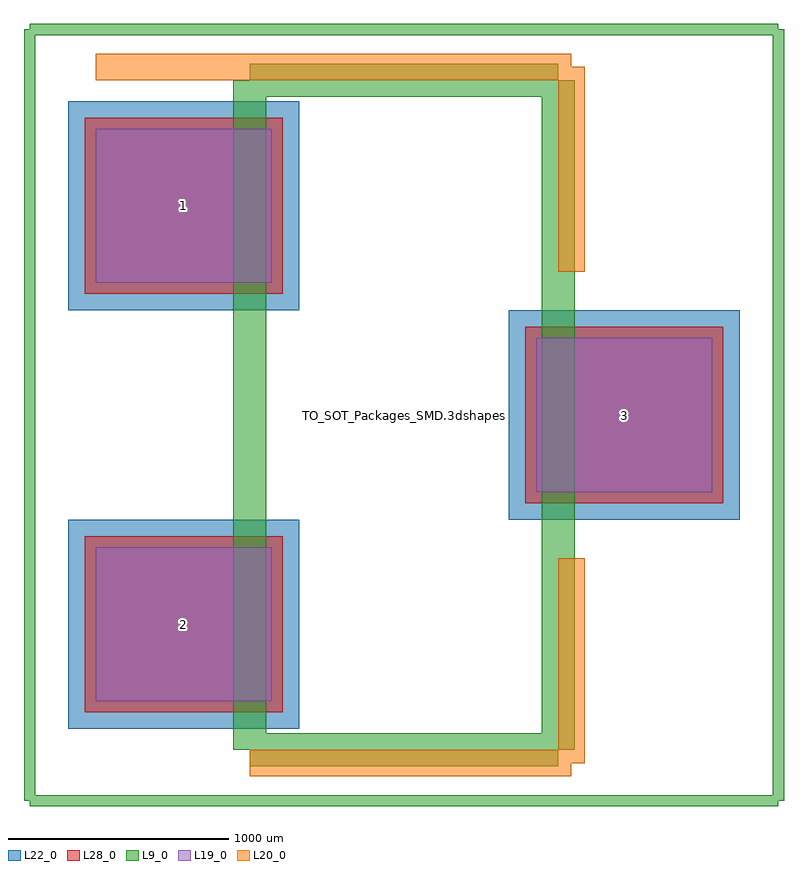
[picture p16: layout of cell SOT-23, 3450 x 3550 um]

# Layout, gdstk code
import gdstk
lib = gdstk.Library(unit=1e-6, precision=1e-09)
def R(c, l, rs):  # rectangles x0, y0, x1, y1
    for r in rs: c.add(gdstk.rectangle(r[:2], r[2:], *l))
L9_0 = (9, 0)
L19_0 = (19, 0)
L20_0 = (20, 0)
L22_0 = (22, 0)
L28_0 = (28, 0)

sot_23 = lib.new_cell('SOT-23')
R(sot_23, L19_0, [(-1400,-1300,-600,-600), (600,-350,1400,350), (-1400,600,-600,1300)])
R(sot_23, L22_0, [(-1525,-1425,-475,-475), (475,-475,1525,475), (-1525,475,-475,1425)])
R(sot_23, L28_0, [(-1450,-1350,-550,-550), (550,-400,1450,400), (-1450,550,-550,1350)])
sot_23.add(gdstk.FlexPath([(760,-1580),(-700,-1580)], 119.998, ends="flush", simple_path=True, layer=20, datatype=0))  # L20_0
sot_23.add(gdstk.FlexPath([(-700,1520),(-700,-1520)], 149.998, ends="flush", simple_path=True, layer=9, datatype=0))  # L9_0
sot_23.add(gdstk.FlexPath([(-700,1520),(700,1520)], 149.998, ends="flush", simple_path=True, layer=9, datatype=0))  # L9_0
sot_23.add(gdstk.FlexPath([(760,1580),(-1400,1580)], 119.998, ends="flush", simple_path=True, layer=20, datatype=0))  # L20_0
sot_23.add(gdstk.FlexPath([(-1700,-1750),(-1700,1750)], 50, ends="flush", simple_path=True, layer=9, datatype=0))  # L9_0
sot_23.add(gdstk.FlexPath([(1700,-1750),(-1700,-1750)], 50, ends="flush", simple_path=True, layer=9, datatype=0))  # L9_0
sot_23.add(gdstk.FlexPath([(1700,1750),(1700,-1750)], 50, ends="flush", simple_path=True, layer=9, datatype=0))  # L9_0
sot_23.add(gdstk.FlexPath([(-1700,1750),(1700,1750)], 50, ends="flush", simple_path=True, layer=9, datatype=0))  # L9_0
sot_23.add(gdstk.FlexPath([(-700,-1520),(700,-1520)], 149.998, ends="flush", simple_path=True, layer=9, datatype=0))  # L9_0
sot_23.add(gdstk.FlexPath([(700,1520),(700,-1520)], 149.998, ends="flush", simple_path=True, layer=9, datatype=0))  # L9_0
sot_23.add(gdstk.FlexPath([(760,1580),(760,650)], 119.998, ends="flush", simple_path=True, layer=20, datatype=0))  # L20_0
sot_23.add(gdstk.FlexPath([(760,-1580),(760,-650)], 119.998, ends="flush", simple_path=True, layer=20, datatype=0))  # L20_0
sot_23.add(gdstk.Label('TO_SOT_Packages_SMD.3dshapes/SOT-23.wrl', (0,0), layer=12, texttype=0))
sot_23.add(gdstk.Label('3', (1000,0), layer=28, texttype=0))
sot_23.add(gdstk.Label('2', (-1000,-950), layer=28, texttype=0))
sot_23.add(gdstk.Label('1', (-1000,950), layer=28, texttype=0))
sot_23.add(gdstk.Label('type', (0,-2500), layer=9, texttype=0))
sot_23.add(gdstk.Label('devicename', (0,2500), layer=9, texttype=0))

lib.write_gds('SOT-23.gds')
